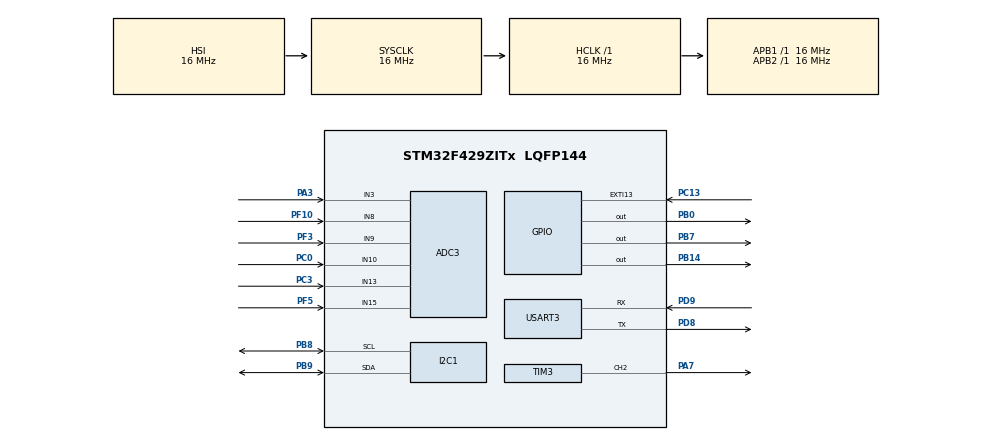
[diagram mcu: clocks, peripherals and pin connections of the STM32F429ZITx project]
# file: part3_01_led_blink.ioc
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Mcu.Family=STM32F4
NVIC.USART3_IRQn=true\:0\:0\:false\:true\:true\:1\:true\:true
SH.ADCx_IN13.0=ADC3_IN13,IN13
RCC.CortexFreq_Value=16000000
PF3.Mode=IN9
PC13.Signal=GPXTI13
PC14/OSC32_IN.Mode=LSE-External-Oscillator
PD9.Signal=USART3_RX
PC0.Signal=ADCx_IN10
PD9.Mode=Asynchronous
PF5.Mode=IN15
ProjectManager.StackSize=0x400
ProjectManager.TargetToolchain=STM32CubeIDE
PH0/OSC_IN.Mode=HSE-External-Clock-Source
SH.ADCx_IN3.0=ADC3_IN3,IN3
PB9.Mode=I2C
TIM3.Period=100-1
PH1/OSC_OUT.Signal=RCC_OSC_OUT
PC3.Signal=ADCx_IN13
PD8.Signal=USART3_TX
PD8.Mode=Asynchronous
RCC.AHBFreq_Value=16000000
NVIC.EXTI15_10_IRQn=true\:0\:0\:false\:true\:true\:2\:true\:true
PB14.Signal=GPIO_Output
ADC3.SamplingTime-1\#ChannelRegularConversion=ADC_SAMPLETIME_3CYCLES
SH.S_TIM3_CH2.0=TIM3_CH2,PWM Generation2 CH2
RCC.HSE_VALUE=25000000
board=custom
RCC.VCOOutputFreq_Value=192000000
NVIC.TIM3_IRQn=true\:0\:0\:false\:false\:true\:true\:true
PH0/OSC_IN.Signal=RCC_OSC_IN
RCC.APB2Freq_Value=16000000
PF10.Signal=ADC3_IN8
TIM3.Prescaler=320-1
PB7.Signal=GPIO_Output
PF3.Signal=ADC3_IN9
PH1/OSC_OUT.Mode=HSE-External-Clock-Source
Mcu.Name=STM32F429ZITx
ADC3.Channel-1\#ChannelRegularConversion=ADC_CHANNEL_9
ADC3.Rank-1\#ChannelRegularConversion=1
RCC.SYSCLKFreq_VALUE=16000000
Mcu.Package=LQFP144
PB9.Signal=I2C1_SDA
PC13.GPIO_ModeDefaultEXTI=GPIO_MODE_IT_RISING_FALLING
USART3.VirtualMode=VM_ASYNC
PC14/OSC32_IN.Signal=RCC_OSC32_IN
PC15/OSC32_OUT.Mode=LSE-External-Oscillator
SH.ADCx_IN10.0=ADC3_IN10,IN10
ProjectManager.HeapSize=0x200
RCC.HSI_VALUE=16000000
PF5.Signal=ADC3_IN15
NVIC.PriorityGroup=NVIC_PRIORITYGROUP_4
TIM3.Channel-PWM\ Generation2\ CH2=TIM_CHANNEL_2
PB8.Mode=I2C
PB8.Signal=I2C1_SCL
PC15/OSC32_OUT.Signal=RCC_OSC32_OUT
PF10.Mode=IN8
RCC.APB1Freq_Value=16000000
ADC3.NbrOfConversionFlag=1
PB0.Signal=GPIO_Output
VP_TIM3_VS_ClockSourceINT.Mode=Internal
PA3.Signal=ADCx_IN3
PA7.Signal=S_TIM3_CH2

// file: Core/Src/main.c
/* USER CODE BEGIN Header */
/**
  ******************************************************************************
  * @file           : main.c
  * @brief          : Main program body
  ******************************************************************************
  * @attention
  *
  * <h2><center>&copy; Copyright (c) 2021 STMicroelectronics.
  * All rights reserved.</center></h2>
  *
  * This software component is licensed by ST under BSD 3-Clause license,
  * the "License"; You may not use this file except in compliance with the
  * License. You may obtain a copy of the License at:
  *                        opensource.org/licenses/BSD-3-Clause
  *
  ******************************************************************************
  */
/* USER CODE END Header */
#include "main.h"
#include "adc.h"
#include "i2c.h"
#include "tim.h"
#include "usart.h"
#include "gpio.h"

/* USER CODE BEGIN Includes */
#include "string.h"
#include "stdio.h"
#include "stdlib.h"
#include "arduino_related.h"
/* USER CODE END Includes */

/* USER CODE BEGIN PTD */
/*
typedef enum{INPUT,OUTPUT}pin_mode;
typedef enum{LOW,HIGH}pin_state;
*/
//D0~5: PG9,PC4,PF15,PF13,PF14,PE11
/* USER CODE END PTD */

/* USER CODE BEGIN PD */
#define LONG_CLICK_MIN 1100
#define LONG_CLICK_MAX 2000
#define DOUBLE_CLICK_MIN 10
#define DOUBLE_CLICK_MAX 200
#define NOISE_MAX 2
/* USER CODE END PD */

/* USER CODE BEGIN PV */

extern GPIO_TypeDef* arduino_pin_letter[20];
extern GPIO_TypeDef* arduino_pin_num[20];
extern int TIM_CHANNEL_n[14];
extern TIM_HandleTypeDef htim;

char rx_data;
char rx_buf[100];
char tx_buf[300];
char pr_buf[1000];
int idx,menu;
char* low_or_high[2]={"LOW","HIGH"};
char str1[100];
char str[100];

int myPin,myState,is1st;
int32_t t0,t_1st_rising,t_1st_falling,t_2nd_rising,t_2nd_falling,dt;
int ninterrupt=0;

/* USER CODE END PV */

void SystemClock_Config(void);
static void MX_NVIC_Init(void);
/* USER CODE BEGIN PFP */
void refresh()
{
	sprintf(str,"----------> choose the menu from 1~5   : ");
	strcat(tx_buf,str);
	HAL_UART_Transmit(&huart3,(uint8_t*)tx_buf,strlen(tx_buf),1000);
    memset(tx_buf,0,sizeof(tx_buf));
    //memset(rx_buf,0,sizeof(rx_buf));
    //idx = 0;
}
void print_menu()
{
	sprintf(str,"\r\n\r\n  **********************\r\n");
	strcat(pr_buf,str);
	sprintf(str,"  *        MENU        *\r\n");
	strcat(pr_buf,str);
	sprintf(str,"  **********************\r\n");
	strcat(pr_buf,str);
	sprintf(str,"    [1] test digitalWrite() : write high and low on D0~013 \r\n");
	strcat(pr_buf,str);
	sprintf(str,"    [2] test digitalRead() : read states of D0~D13\r\n");
	strcat(pr_buf,str);
	sprintf(str,"    [3] test analogWrite() : generate PWM on D{3,5,6,9,10,11}\r\n");
	strcat(pr_buf,str);
	sprintf(str,"    [4] test analogRead() : read value of analog channels A0~A5\r\n");
	strcat(pr_buf,str);
	sprintf(str,"    [5] test tone(), noTone() : make sounds of musical notes\r\n");
	strcat(pr_buf,str);
	sprintf(str,"----------> choose the menu from 1~5   : ");
	strcat(pr_buf,str);
	HAL_UART_Transmit(&huart3,(uint8_t*)pr_buf,strlen(pr_buf),1000);
	memset(pr_buf,0,sizeof(pr_buf));
	HAL_UART_Receive(&huart3,(uint8_t*)&rx_data,1,HAL_MAX_DELAY);
	HAL_UART_Transmit(&huart3,(uint8_t*)&rx_data,1,HAL_MAX_DELAY);
	menu=rx_data -'0';
	while(menu<1 || menu>5)
	{
		refresh();
		HAL_UART_Receive(&huart3,(uint8_t*)&rx_data,1,HAL_MAX_DELAY);
		HAL_UART_Transmit(&huart3,(uint8_t*)&rx_data,1,HAL_MAX_DELAY);
		menu=rx_data -'0';
	}
}

/**************************
* TEST1 : digitalWrite()  *
***************************/
void test_digitalWrite()
{
	for(int i=0;i<14;i++)
	{
		pinMode(i,OUTPUT);
		digitalWrite(i,HIGH);
		HAL_Delay(200);
		digitalWrite(i,LOW);
	}
}
/**************************
* TEST2 : digitalRead()   *
***************************/
void test_digitalRead()
{
	sprintf(str,"\r\n ------------------------ \r\n");
	strcat(tx_buf,str);
	sprintf(str,"   digital pin    | state \r\n");
	strcat(tx_buf,str);
	sprintf(str," ------------------------ \r\n");
	strcat(tx_buf,str);
	HAL_UART_Transmit(&huart3,(uint8_t*)tx_buf,strlen(tx_buf),1000);
	memset(tx_buf,0,sizeof(tx_buf));
	for(int i=0;i<14;i++)
	{
		pinMode(i,INPUT);
		char pin_number[3];
		sprintf(pin_number,"%d",i);
		sprintf(tx_buf,"              D%-2s |  %s\r\n",pin_number,low_or_high[digitalRead(8)]);
		HAL_UART_Transmit(&huart3,(uint8_t*)tx_buf,strlen(tx_buf),1000);
		memset(tx_buf,0,sizeof(tx_buf));
	}
}
/***************************
 * TEST3 : analogWrite()   *
 ***************************/
void test_analogWrite()
{
	  int pins[6]={3,5,6,9,10,11};
	  for (int j=0;j<255;j++)
	  {
		  for(int i=0;i<6;i++){analogWrite(pins[i], 2*j%255);}
		  HAL_Delay(10);
	  }
	  for(int i=0;i<6;i++){HAL_TIM_PWM_Stop(&htim,TIM_CHANNEL_n[11]);}
}
/**************************
 * TEST4 : analogRead()   *
 **************************/
void test_analogRead()
{
	  sprintf(str,"\r\n ------------------------ \r\n");
	  strcat(tx_buf,str);
	  sprintf(str,"   analog channel | value \r\n");
	  strcat(tx_buf,str);
	  sprintf(str," ------------------------ \r\n");
	  strcat(tx_buf,str);
	  HAL_UART_Transmit(&huart3,(uint8_t*)tx_buf,strlen(tx_buf),1000);
	  memset(tx_buf,0,sizeof(tx_buf));
	  for(int i=A0;i<=A5;i++)
	  {
		  pinMode(i,INPUT);
		  uint16_t val=analogRead(i);
		  sprintf(tx_buf,"               A%d | %4d \r\n",i-14,val);
		  HAL_UART_Transmit(&huart3,(uint8_t*)tx_buf,strlen(tx_buf),1000);
		  memset(tx_buf,0,sizeof(tx_buf));
		  HAL_GPIO_DeInit(arduino_pin_letter[i], arduino_pin_num[i]);
		  HAL_Delay(100);
	  }
}
/***************************
 * TEST5 : tone() noTone() *
 ***************************/
void test_tone_noTone()
{
	  int doremi[8]={523,587,659,698,784,880,988,1047};
	  for(int i=0;i<8;i++)
	  {
		  tone(11,doremi[i]);
		  HAL_Delay(500);
		  noTone(11);
		  HAL_Delay(1000);
	  }
	  HAL_TIM_PWM_Stop(&htim,TIM_CHANNEL_n[11]);
}
//-------------------------------------------
 void (*serve_the_menu[5])(void) =
 	 {\
 		test_digitalWrite, test_digitalRead, test_analogWrite, \
		test_analogRead, test_tone_noTone\
 	 };

/* USER CODE END PFP */

int main(void)
{

  /* MCU Configuration--------------------------------------------------------*/

  /* Reset of all peripherals, Initializes the Flash interface and the Systick. */
  HAL_Init();

  /* Configure the system clock */
  SystemClock_Config();

  /* Initialize all configured peripherals */
  MX_GPIO_Init();
  MX_USART3_UART_Init();
  MX_ADC3_Init();
  MX_TIM3_Init();
  MX_I2C1_Init();

  /* Initialize interrupts */
  MX_NVIC_Init();

  /* Infinite loop */
  /* USER CODE BEGIN WHILE */

  while (1)
  {
	  print_menu();
	  HAL_Delay(500);
	  serve_the_menu[menu-1]();
	  HAL_Delay(500);
    /* USER CODE END WHILE */

  }
}

void SystemClock_Config(void)
{
  RCC_OscInitTypeDef RCC_OscInitStruct = {0};
  RCC_ClkInitTypeDef RCC_ClkInitStruct = {0};

  /** Configure the main internal regulator output voltage
  */
  __HAL_RCC_PWR_CLK_ENABLE();
  __HAL_PWR_VOLTAGESCALING_CONFIG(PWR_REGULATOR_VOLTAGE_SCALE3);
  /** Initializes the RCC Oscillators according to the specified parameters
  * in the RCC_OscInitTypeDef structure.
  */
  RCC_OscInitStruct.OscillatorType = RCC_OSCILLATORTYPE_HSI;
  RCC_OscInitStruct.HSIState = RCC_HSI_ON;
  RCC_OscInitStruct.HSICalibrationValue = RCC_HSICALIBRATION_DEFAULT;
  RCC_OscInitStruct.PLL.PLLState = RCC_PLL_NONE;
  if (HAL_RCC_OscConfig(&RCC_OscInitStruct) != HAL_OK)
  {
    Error_Handler();
  }
  /** Initializes the CPU, AHB and APB buses clocks
  */
  RCC_ClkInitStruct.ClockType = RCC_CLOCKTYPE_HCLK|RCC_CLOCKTYPE_SYSCLK
                              |RCC_CLOCKTYPE_PCLK1|RCC_CLOCKTYPE_PCLK2;
  RCC_ClkInitStruct.SYSCLKSource = RCC_SYSCLKSOURCE_HSI;
  RCC_ClkInitStruct.AHBCLKDivider = RCC_SYSCLK_DIV1;
  RCC_ClkInitStruct.APB1CLKDivider = RCC_HCLK_DIV1;
  RCC_ClkInitStruct.APB2CLKDivider = RCC_HCLK_DIV1;

  if (HAL_RCC_ClockConfig(&RCC_ClkInitStruct, FLASH_LATENCY_0) != HAL_OK)
  {
    Error_Handler();
  }
}

/**
  * @brief NVIC Configuration.
  * @retval None
  */
static void MX_NVIC_Init(void)
{
  /* USART3_IRQn interrupt configuration */
  HAL_NVIC_SetPriority(USART3_IRQn, 0, 0);
  HAL_NVIC_EnableIRQ(USART3_IRQn);
  /* EXTI15_10_IRQn interrupt configuration */
  HAL_NVIC_SetPriority(EXTI15_10_IRQn, 0, 0);
  HAL_NVIC_EnableIRQ(EXTI15_10_IRQn);
}

/* USER CODE BEGIN 4 */
void HAL_GPIO_EXTI_Callback(uint16_t GPIO_Pin)
{
	GPIO_PinState pin;
	if(GPIO_Pin == GPIO_PIN_13)
	{
		pin=HAL_GPIO_ReadPin(GPIOC,GPIO_PIN_13);
//---------------------------------------------------------------1st rising
		if(ninterrupt==0 && pin==1)
		{
			t_1st_rising = HAL_GetTick();
			ninterrupt++;
		}
//---------------------------------------------------------------1st falling
		else if(ninterrupt==1 && pin==0)
		{
			t_1st_falling = HAL_GetTick();
			dt = t_1st_falling - t_1st_rising;
			if(dt>=LONG_CLICK_MIN && dt<=LONG_CLICK_MAX)
			{
				sprintf(str1,"LONG CLICK\r\n");
				ninterrupt=0;
			}
			else if(dt>0 && dt<=NOISE_MAX){	ninterrupt=0;}
			else if(dt>DOUBLE_CLICK_MAX+10 && dt<LONG_CLICK_MIN-10)
			{
				sprintf(str1, "Select Key. (interval = %d )\r\n",(int)dt);
				ninterrupt=0;
			}
			else if(dt>=DOUBLE_CLICK_MIN && dt<=DOUBLE_CLICK_MAX){ninterrupt++;}
		}
//---------------------------------------------------------------2nd rising
		else if(ninterrupt == 2 && pin==1)
		{
			t_2nd_rising = HAL_GetTick();
			dt = t_2nd_rising-t_1st_falling;
			if(dt>=DOUBLE_CLICK_MIN && dt<=DOUBLE_CLICK_MAX)
			{
				ninterrupt++;
			}
			else ninterrupt=0;
		}
//---------------------------------------------------------------2nd falling
		else if(ninterrupt==3 && pin==0)
		{
			t_2nd_falling = HAL_GetTick();
			dt = t_2nd_falling - t_2nd_rising;
			if(dt>=DOUBLE_CLICK_MIN && dt<=DOUBLE_CLICK_MAX)
			{
				sprintf(str1, "DOUBLE CLICK\r\n");
				ninterrupt=0;
			}
			else ninterrupt=0;
		}
		pin = HAL_GPIO_ReadPin(GPIOC,GPIO_PIN_13);
		HAL_UART_Transmit(&huart3,(uint8_t*)str1,strlen(str1),1000);
		memset(str1,0,sizeof(str1));
		dt=0;
	}
}
void HAL_UART_RxCpltCallback(UART_HandleTypeDef *huart)
{
	if(huart->Instance == USART3)
	{
		HAL_UART_Receive_IT(&huart3,(uint8_t*)&rx_data,1);
		if(rx_data=='\b')
        {
			char backspace[] = "\b ";
            HAL_UART_Transmit(&huart3, (uint8_t*)& backspace, strlen(backspace), 1000);
            if (idx >= 1)
            {
            	rx_buf[idx--] = '\0';
                rx_buf[idx]   = '\0';
            }
        }
        HAL_UART_Transmit(&huart3,(uint8_t*)&rx_data,1,1000);
        if(rx_data == '\r')
        {
        	if(idx==0){}
        	else
            {
            	int temp;
            	sscanf(rx_buf,"%d",&temp);
            	if(temp<1 || temp>5)refresh();
            	else
            	{
            		serve_the_menu[temp-1]();
            		print_menu();
            	}
            }
        	idx=0;
        	memset(rx_buf,0,sizeof(rx_buf));
        	memset(tx_buf,0,sizeof(tx_buf));
        	print_menu();
        }
        else if(rx_data!='\b'){rx_buf[idx++]=rx_data;}
	}
}

/* USER CODE END 4 */

void Error_Handler(void)
{
  __disable_irq();
  while (1)
  {
  }
}

/************************ (C) COPYRIGHT STMicroelectronics *****END OF FILE****/
